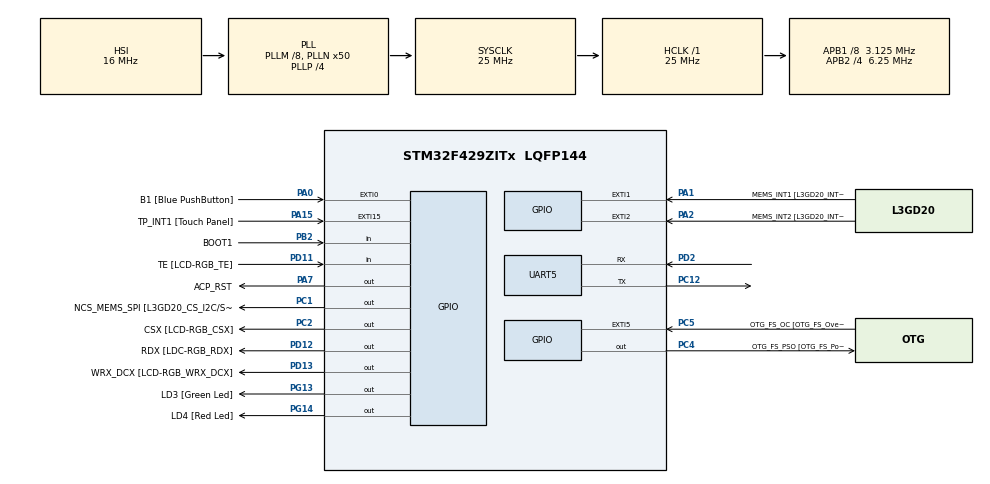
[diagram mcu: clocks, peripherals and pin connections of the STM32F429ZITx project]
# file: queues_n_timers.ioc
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Mcu.Family=STM32F4
Mcu.Name=STM32F429ZITx
Mcu.Package=LQFP144
NVIC.PriorityGroup=NVIC_PRIORITYGROUP_4
NVIC.TIM6_DAC_IRQn=true\:15\:0\:false\:false\:true\:false\:true\:true
NVIC.TimeBase=TIM6_DAC_IRQn
NVIC.TimeBaseIP=TIM6
NVIC.UART5_IRQn=true\:6\:0\:true\:false\:true\:true\:true\:true
PA0/WKUP.GPIO_Label=B1 [Blue PushButton]
PA0/WKUP.GPIO_ModeDefaultEXTI=GPIO_MODE_EVT_RISING
PA0/WKUP.GPIO_PuPd=GPIO_NOPULL
PA0/WKUP.Signal=GPXTI0
PA1.GPIO_Label=MEMS_INT1 [L3GD20_INT1]
PA1.GPIO_ModeDefaultEXTI=GPIO_MODE_EVT_RISING
PA1.GPIO_PuPd=GPIO_NOPULL
PA1.Signal=GPXTI1
PA10.GPIO_Label=STLINK_TX [STM32F103CBT6_PA2]
PA10.Signal=USART1_RX
PA11.GPIO_Label=R4
PA11.GPIO_Mode=GPIO_MODE_AF_PP
PA11.GPIO_PuPd=GPIO_NOPULL
PA11.GPIO_Speed=GPIO_SPEED_FREQ_LOW
PA11.Signal=LTDC_R4
PA12.GPIO_Label=R5
PA12.GPIO_Mode=GPIO_MODE_AF_PP
PA12.GPIO_PuPd=GPIO_NOPULL
PA12.GPIO_Speed=GPIO_SPEED_FREQ_LOW
PA12.Signal=LTDC_R5
PA13.GPIO_Label=SWDIO
PA13.Signal=SYS_JTMS-SWDIO
PA14.GPIO_Label=SWCLK
PA14.Signal=SYS_JTCK-SWCLK
PA15.GPIO_Label=TP_INT1 [Touch Panel]
PA15.GPIO_ModeDefaultEXTI=GPIO_MODE_EVT_RISING
PA15.GPIO_PuPd=GPIO_NOPULL
PA15.Signal=GPXTI15
PA2.GPIO_Label=MEMS_INT2 [L3GD20_INT2]
PA2.GPIO_ModeDefaultEXTI=GPIO_MODE_EVT_RISING
PA2.GPIO_PuPd=GPIO_NOPULL
PA2.Signal=GPXTI2
PA3.GPIO_Label=B5
PA3.GPIO_Mode=GPIO_MODE_AF_PP
PA3.GPIO_PuPd=GPIO_NOPULL
PA3.GPIO_Speed=GPIO_SPEED_FREQ_LOW
PA3.Signal=LTDC_B5
PA4.GPIO_Label=VSYNC
PA4.GPIO_Mode=GPIO_MODE_AF_PP
PA4.GPIO_PuPd=GPIO_NOPULL
PA4.GPIO_Speed=GPIO_SPEED_FREQ_LOW
PA4.Signal=LTDC_VSYNC
PA6.GPIO_Label=G2
PA6.GPIO_Mode=GPIO_MODE_AF_PP
PA6.GPIO_PuPd=GPIO_NOPULL
PA6.GPIO_Speed=GPIO_SPEED_FREQ_LOW
PA6.Signal=LTDC_G2
PA7.GPIO_Label=ACP_RST
PA7.GPIO_Mode=GPIO_MODE_OUTPUT_PP
PA7.GPIO_PuPd=GPIO_NOPULL
PA7.GPIO_Speed=GPIO_SPEED_FREQ_LOW
PA7.Signal=GPIO_Output
PA9.GPIO_Label=STLINK_RX [STM32F103CBT6_PA3]
PA9.Signal=USART1_TX
PB0.GPIO_Label=R3
PB0.GPIO_Mode=GPIO_MODE_AF_PP
PB0.GPIO_PuPd=GPIO_NOPULL
PB0.GPIO_Speed=GPIO_SPEED_FREQ_LOW
PB0.Signal=LTDC_R3
PB1.GPIO_Label=R6
PB1.GPIO_Mode=GPIO_MODE_AF_PP
PB1.GPIO_PuPd=GPIO_NOPULL
PB1.GPIO_Speed=GPIO_SPEED_FREQ_LOW
PB1.Signal=LTDC_R6
PB10.GPIO_Label=G4
PB10.GPIO_Mode=GPIO_MODE_AF_PP
PB10.GPIO_PuPd=GPIO_NOPULL
PB10.GPIO_Speed=GPIO_SPEED_FREQ_LOW
PB10.Signal=LTDC_G4
PB11.GPIO_Label=G5
PB11.GPIO_Mode=GPIO_MODE_AF_PP
PB11.GPIO_PuPd=GPIO_NOPULL
PB11.GPIO_Speed=GPIO_SPEED_FREQ_LOW
PB11.Signal=LTDC_G5
PB12.GPIO_Label=OTG_HS_ID
PB12.GPIO_Mode=GPIO_MODE_AF_PP
PB12.GPIO_PuPd=GPIO_NOPULL
PB12.GPIO_Speed=GPIO_SPEED_FREQ_LOW
PB12.Signal=USB_OTG_HS_ID
PB13.GPIO_Label=VBUS_HS
PB13.GPIO_Mode=GPIO_MODE_INPUT
PB13.GPIO_PuPd=GPIO_NOPULL
PB13.Signal=USB_OTG_HS_VBUS
PB14.GPIO_Label=OTG_HS_DM
PB14.GPIO_Mode=GPIO_MODE_AF_PP
PB14.GPIO_PuPd=GPIO_NOPULL
PB14.GPIO_Speed=GPIO_SPEED_FREQ_LOW
PB14.Signal=USB_OTG_HS_DM
PB15.GPIO_Label=OTG_HS_DP
PB15.GPIO_Mode=GPIO_MODE_AF_PP
PB15.GPIO_PuPd=GPIO_NOPULL
PB15.GPIO_Speed=GPIO_SPEED_FREQ_LOW
PB15.Signal=USB_OTG_HS_DP
PB2/BOOT1.GPIO_Label=BOOT1
PB2/BOOT1.GPIO_Mode=GPIO_MODE_INPUT
PB2/BOOT1.GPIO_PuPd=GPIO_NOPULL
PB2/BOOT1.Signal=GPIO_Input
PB5.GPIO_Label=SDCKE1
PB5.GPIO_Mode=GPIO_MODE_AF_PP
PB5.GPIO_PuPd=GPIO_NOPULL
PB5.GPIO_Speed=GPIO_SPEED_FREQ_VERY_HIGH
PB5.Signal=FMC_SDCKE1
PB6.GPIO_Label=SDNE1 [SDRAM_CS]
PB6.GPIO_Mode=GPIO_MODE_AF_PP
PB6.GPIO_PuPd=GPIO_NOPULL
PB6.GPIO_Speed=GPIO_SPEED_FREQ_VERY_HIGH
PB6.Signal=FMC_SDNE1
PB8.GPIO_Label=B6
PB8.GPIO_Mode=GPIO_MODE_AF_PP
PB8.GPIO_PuPd=GPIO_NOPULL
PB8.GPIO_Speed=GPIO_SPEED_FREQ_LOW
PB8.Signal=LTDC_B6
PB9.GPIO_Label=B7
PB9.GPIO_Mode=GPIO_MODE_AF_PP
PB9.GPIO_PuPd=GPIO_NOPULL
PB9.GPIO_Speed=GPIO_SPEED_FREQ_LOW
PB9.Signal=LTDC_B7
PC0.GPIO_Label=SDNWE
PC0.GPIO_Mode=GPIO_MODE_AF_PP
PC0.GPIO_PuPd=GPIO_NOPULL
PC0.GPIO_Speed=GPIO_SPEED_FREQ_VERY_HIGH
PC0.Signal=FMC_SDNWE
PC1.GPIO_Label=NCS_MEMS_SPI [L3GD20_CS_I2C/SPI]
PC1.GPIO_Mode=GPIO_MODE_OUTPUT_PP
PC1.GPIO_PuPd=GPIO_NOPULL
PC1.GPIO_Speed=GPIO_SPEED_FREQ_LOW
PC1.Signal=GPIO_Output
PC10.GPIO_Label=R2
PC10.GPIO_Mode=GPIO_MODE_AF_PP
PC10.GPIO_PuPd=GPIO_NOPULL
PC10.GPIO_Speed=GPIO_SPEED_FREQ_LOW
PC10.Signal=LTDC_R2
PC12.Mode=Asynchronous
PC12.Signal=UART5_TX
PC14/OSC32_IN.GPIO_Label=PC14-OSC32_IN
PC14/OSC32_IN.Signal=RCC_OSC32_IN
PC15/OSC32_OUT.GPIO_Label=PC15-OSC32_OUT
PC15/OSC32_OUT.Signal=RCC_OSC32_OUT
PC2.GPIO_Label=CSX [LCD-RGB_CSX]
PC2.GPIO_Mode=GPIO_MODE_OUTPUT_PP
PC2.GPIO_PuPd=GPIO_NOPULL
PC2.GPIO_Speed=GPIO_SPEED_FREQ_LOW
PC2.Signal=GPIO_Output
PC4.GPIO_Label=OTG_FS_PSO [OTG_FS_PowerSwitchOn]
PC4.GPIO_Mode=GPIO_MODE_OUTPUT_PP
PC4.GPIO_PuPd=GPIO_NOPULL
PC4.GPIO_Speed=GPIO_SPEED_FREQ_LOW
PC4.Signal=GPIO_Output
PC5.GPIO_Label=OTG_FS_OC [OTG_FS_OverCurrent]
PC5.GPIO_ModeDefaultEXTI=GPIO_MODE_EVT_RISING
PC5.Signal=GPXTI5
PC6.GPIO_Label=HSYNC
PC6.GPIO_Mode=GPIO_MODE_AF_PP
PC6.GPIO_PuPd=GPIO_NOPULL
PC6.GPIO_Speed=GPIO_SPEED_FREQ_LOW
PC6.Signal=LTDC_HSYNC
PC7.GPIO_Label=G6
PC7.GPIO_Mode=GPIO_MODE_AF_PP
PC7.GPIO_PuPd=GPIO_NOPULL
PC7.GPIO_Speed=GPIO_SPEED_FREQ_LOW
PC7.Signal=LTDC_G6
PC9.GPIO_Label=I2C3_SDA [ACP/RF_SDA]
PC9.GPIO_Mode=GPIO_MODE_AF_OD
PC9.GPIO_PuPd=GPIO_NOPULL
PC9.GPIO_Speed=GPIO_SPEED_FREQ_LOW
PC9.Signal=I2C3_SDA
PD0.GPIO_Label=D2
PD0.GPIO_Mode=GPIO_MODE_AF_PP
PD0.GPIO_PuPd=GPIO_NOPULL
PD0.GPIO_Speed=GPIO_SPEED_FREQ_VERY_HIGH
PD0.Signal=FMC_D2_DA2
PD1.GPIO_Label=D3
PD1.GPIO_Mode=GPIO_MODE_AF_PP
PD1.GPIO_PuPd=GPIO_NOPULL
PD1.GPIO_Speed=GPIO_SPEED_FREQ_VERY_HIGH
PD1.Signal=FMC_D3_DA3
PD10.GPIO_Label=D15
PD10.GPIO_Mode=GPIO_MODE_AF_PP
PD10.GPIO_PuPd=GPIO_NOPULL
PD10.GPIO_Speed=GPIO_SPEED_FREQ_VERY_HIGH
PD10.Signal=FMC_D15_DA15
PD11.GPIO_Label=TE [LCD-RGB_TE]
PD11.GPIO_Mode=GPIO_MODE_INPUT
PD11.GPIO_PuPd=GPIO_NOPULL
PD11.Signal=GPIO_Input
PD12.GPIO_Label=RDX [LDC-RGB_RDX]
PD12.GPIO_Mode=GPIO_MODE_OUTPUT_PP
PD12.GPIO_PuPd=GPIO_NOPULL
PD12.GPIO_Speed=GPIO_SPEED_FREQ_LOW
PD12.Signal=GPIO_Output
PD13.GPIO_Label=WRX_DCX [LCD-RGB_WRX_DCX]
PD13.GPIO_Mode=GPIO_MODE_OUTPUT_PP
PD13.GPIO_PuPd=GPIO_NOPULL
PD13.GPIO_Speed=GPIO_SPEED_FREQ_LOW
PD13.Signal=GPIO_Output
PD14.GPIO_Label=D0
PD14.GPIO_Mode=GPIO_MODE_AF_PP
PD14.GPIO_PuPd=GPIO_NOPULL
PD14.GPIO_Speed=GPIO_SPEED_FREQ_VERY_HIGH
PD14.Signal=FMC_D0_DA0
PD15.GPIO_Label=D1
PD15.GPIO_Mode=GPIO_MODE_AF_PP
PD15.GPIO_PuPd=GPIO_NOPULL
PD15.GPIO_Speed=GPIO_SPEED_FREQ_VERY_HIGH
PD15.Signal=FMC_D1_DA1
PD2.Mode=Asynchronous
PD2.Signal=UART5_RX
PD3.GPIO_Label=G7
PD3.GPIO_Mode=GPIO_MODE_AF_PP
PD3.GPIO_PuPd=GPIO_NOPULL
PD3.GPIO_Speed=GPIO_SPEED_FREQ_LOW
PD3.Signal=LTDC_G7
PD6.GPIO_Label=B2
PD6.GPIO_Mode=GPIO_MODE_AF_PP
PD6.GPIO_PuPd=GPIO_NOPULL
PD6.GPIO_Speed=GPIO_SPEED_FREQ_LOW
PD6.Signal=LTDC_B2
PD8.GPIO_Label=D13
PD8.GPIO_Mode=GPIO_MODE_AF_PP
PD8.GPIO_PuPd=GPIO_NOPULL
PD8.GPIO_Speed=GPIO_SPEED_FREQ_VERY_HIGH
PD8.Signal=FMC_D13_DA13
PD9.GPIO_Label=D14
PD9.GPIO_Mode=GPIO_MODE_AF_PP
PD9.GPIO_PuPd=GPIO_NOPULL
PD9.GPIO_Speed=GPIO_SPEED_FREQ_VERY_HIGH
PD9.Signal=FMC_D14_DA14
PE0.GPIO_Label=NBL0 [SDRAM_LDQM]
PE0.GPIO_Mode=GPIO_MODE_AF_PP
PE0.GPIO_PuPd=GPIO_NOPULL
PE0.GPIO_Speed=GPIO_SPEED_FREQ_VERY_HIGH
PE0.Signal=FMC_NBL0
PE1.GPIO_Label=NBL1 [SDRAM_UDQM]
PE1.GPIO_Mode=GPIO_MODE_AF_PP
PE1.GPIO_PuPd=GPIO_NOPULL
PE1.GPIO_Speed=GPIO_SPEED_FREQ_VERY_HIGH
PE1.Signal=FMC_NBL1
PE10.GPIO_Label=D7
PE10.GPIO_Mode=GPIO_MODE_AF_PP
PE10.GPIO_PuPd=GPIO_NOPULL
PE10.GPIO_Speed=GPIO_SPEED_FREQ_VERY_HIGH
PE10.Signal=FMC_D7_DA7
PE11.GPIO_Label=D8
PE11.GPIO_Mode=GPIO_MODE_AF_PP
PE11.GPIO_PuPd=GPIO_NOPULL
PE11.GPIO_Speed=GPIO_SPEED_FREQ_VERY_HIGH
PE11.Signal=FMC_D8_DA8
PE12.GPIO_Label=D9
PE12.GPIO_Mode=GPIO_MODE_AF_PP
PE12.GPIO_PuPd=GPIO_NOPULL
PE12.GPIO_Speed=GPIO_SPEED_FREQ_VERY_HIGH
PE12.Signal=FMC_D9_DA9
PE13.GPIO_Label=D10
PE13.GPIO_Mode=GPIO_MODE_AF_PP
PE13.GPIO_PuPd=GPIO_NOPULL
PE13.GPIO_Speed=GPIO_SPEED_FREQ_VERY_HIGH
PE13.Signal=FMC_D10_DA10
PE14.GPIO_Label=D11
PE14.GPIO_Mode=GPIO_MODE_AF_PP
PE14.GPIO_PuPd=GPIO_NOPULL
PE14.GPIO_Speed=GPIO_SPEED_FREQ_VERY_HIGH
PE14.Signal=FMC_D11_DA11
PE15.GPIO_Label=D12
PE15.GPIO_Mode=GPIO_MODE_AF_PP
PE15.GPIO_PuPd=GPIO_NOPULL
PE15.GPIO_Speed=GPIO_SPEED_FREQ_VERY_HIGH
PE15.Signal=FMC_D12_DA12
PE7.GPIO_Label=D4
PE7.GPIO_Mode=GPIO_MODE_AF_PP
PE7.GPIO_PuPd=GPIO_NOPULL
PE7.GPIO_Speed=GPIO_SPEED_FREQ_VERY_HIGH
PE7.Signal=FMC_D4_DA4
PE8.GPIO_Label=D5
PE8.GPIO_Mode=GPIO_MODE_AF_PP
PE8.GPIO_PuPd=GPIO_NOPULL
PE8.GPIO_Speed=GPIO_SPEED_FREQ_VERY_HIGH
PE8.Signal=FMC_D5_DA5
PE9.GPIO_Label=D6
PE9.GPIO_Mode=GPIO_MODE_AF_PP
PE9.GPIO_PuPd=GPIO_NOPULL
PE9.GPIO_Speed=GPIO_SPEED_FREQ_VERY_HIGH
PE9.Signal=FMC_D6_DA6
PF0.GPIO_Label=A0
PF0.GPIO_Mode=GPIO_MODE_AF_PP
PF0.GPIO_PuPd=GPIO_NOPULL
PF0.GPIO_Speed=GPIO_SPEED_FREQ_VERY_HIGH
PF0.Signal=FMC_A0
PF1.GPIO_Label=A1
PF1.GPIO_Mode=GPIO_MODE_AF_PP
PF1.GPIO_PuPd=GPIO_NOPULL
PF1.GPIO_Speed=GPIO_SPEED_FREQ_VERY_HIGH
PF1.Signal=FMC_A1
PF10.GPIO_Label=ENABLE [LCD-RGB_ENABLE]
PF10.GPIO_Mode=GPIO_MODE_AF_PP
PF10.GPIO_PuPd=GPIO_NOPULL
PF10.GPIO_Speed=GPIO_SPEED_FREQ_LOW
PF10.Signal=LTDC_DE
PF11.GPIO_Label=SDNRAS
PF11.GPIO_Mode=GPIO_MODE_AF_PP
PF11.GPIO_PuPd=GPIO_NOPULL
PF11.GPIO_Speed=GPIO_SPEED_FREQ_VERY_HIGH
PF11.Signal=FMC_SDNRAS
PF12.GPIO_Label=A6
PF12.GPIO_Mode=GPIO_MODE_AF_PP
PF12.GPIO_PuPd=GPIO_NOPULL
PF12.GPIO_Speed=GPIO_SPEED_FREQ_VERY_HIGH
PF12.Signal=FMC_A6
PF13.GPIO_Label=A7
PF13.GPIO_Mode=GPIO_MODE_AF_PP
PF13.GPIO_PuPd=GPIO_NOPULL
PF13.GPIO_Speed=GPIO_SPEED_FREQ_VERY_HIGH
PF13.Signal=FMC_A7
PF14.GPIO_Label=A8
PF14.GPIO_Mode=GPIO_MODE_AF_PP
PF14.GPIO_PuPd=GPIO_NOPULL
PF14.GPIO_Speed=GPIO_SPEED_FREQ_VERY_HIGH
PF14.Signal=FMC_A8
PF15.GPIO_Label=A9
PF15.GPIO_Mode=GPIO_MODE_AF_PP
PF15.GPIO_PuPd=GPIO_NOPULL
PF15.GPIO_Speed=GPIO_SPEED_FREQ_VERY_HIGH
PF15.Signal=FMC_A9
PF2.GPIO_Label=A2
PF2.GPIO_Mode=GPIO_MODE_AF_PP
PF2.GPIO_PuPd=GPIO_NOPULL
PF2.GPIO_Speed=GPIO_SPEED_FREQ_VERY_HIGH
PF2.Signal=FMC_A2
PF3.GPIO_Label=A3
PF3.GPIO_Mode=GPIO_MODE_AF_PP
PF3.GPIO_PuPd=GPIO_NOPULL
PF3.GPIO_Speed=GPIO_SPEED_FREQ_VERY_HIGH
PF3.Signal=FMC_A3
PF4.GPIO_Label=A4
PF4.GPIO_Mode=GPIO_MODE_AF_PP
PF4.GPIO_PuPd=GPIO_NOPULL
PF4.GPIO_Speed=GPIO_SPEED_FREQ_VERY_HIGH
PF4.Signal=FMC_A4
PF5.GPIO_Label=A5
PF5.GPIO_Mode=GPIO_MODE_AF_PP
PF5.GPIO_PuPd=GPIO_NOPULL
PF5.GPIO_Speed=GPIO_SPEED_FREQ_VERY_HIGH
PF5.Signal=FMC_A5
PF7.GPIO_Label=SPI5_SCK [L3GD20_SCL/SPC]
PF7.GPIO_Mode=GPIO_MODE_AF_PP
PF7.GPIO_PuPd=GPIO_NOPULL
PF7.GPIO_Speed=GPIO_SPEED_FREQ_LOW
PF7.Signal=SPI5_SCK
PF8.GPIO_Label=SPI5_MISO [L3GD20_SDO]
PF8.GPIO_Mode=GPIO_MODE_AF_PP
PF8.GPIO_PuPd=GPIO_NOPULL
PF8.GPIO_Speed=GPIO_SPEED_FREQ_LOW
PF8.Signal=SPI5_MISO
PF9.GPIO_Label=SPI5_MOSI [L3GD20_SDA/SDI/SDO]
PF9.GPIO_Mode=GPIO_MODE_AF_PP
PF9.GPIO_PuPd=GPIO_NOPULL
PF9.GPIO_Speed=GPIO_SPEED_FREQ_LOW
PF9.Signal=SPI5_MOSI
PG0.GPIO_Label=A10
PG0.GPIO_Mode=GPIO_MODE_AF_PP
PG0.GPIO_PuPd=GPIO_NOPULL
PG0.GPIO_Speed=GPIO_SPEED_FREQ_VERY_HIGH
PG0.Signal=FMC_A10
PG1.GPIO_Label=A11
PG1.GPIO_Mode=GPIO_MODE_AF_PP
PG1.GPIO_PuPd=GPIO_NOPULL
PG1.GPIO_Speed=GPIO_SPEED_FREQ_VERY_HIGH
PG1.Signal=FMC_A11
PG10.GPIO_Label=G3
PG10.GPIO_Mode=GPIO_MODE_AF_PP
PG10.GPIO_PuPd=GPIO_NOPULL
PG10.GPIO_Speed=GPIO_SPEED_FREQ_LOW
PG10.Signal=LTDC_G3
PG11.GPIO_Label=B3
PG11.GPIO_Mode=GPIO_MODE_AF_PP
PG11.GPIO_PuPd=GPIO_NOPULL
PG11.GPIO_Speed=GPIO_SPEED_FREQ_LOW
PG11.Signal=LTDC_B3
PG12.GPIO_Label=B4
PG12.GPIO_Mode=GPIO_MODE_AF_PP
PG12.GPIO_PuPd=GPIO_NOPULL
PG12.GPIO_Speed=GPIO_SPEED_FREQ_LOW
PG12.Signal=LTDC_B4
PG13.GPIO_Label=LD3 [Green Led]
PG13.GPIO_Mode=GPIO_MODE_OUTPUT_PP
PG13.GPIO_PuPd=GPIO_NOPULL
PG13.GPIO_Speed=GPIO_SPEED_FREQ_LOW
PG13.Signal=GPIO_Output
PG14.GPIO_Label=LD4 [Red Led]
PG14.GPIO_Mode=GPIO_MODE_OUTPUT_PP
PG14.GPIO_PuPd=GPIO_NOPULL
PG14.GPIO_Speed=GPIO_SPEED_FREQ_LOW
PG14.Signal=GPIO_Output
PG15.GPIO_Label=SDNCAS
PG15.GPIO_Mode=GPIO_MODE_AF_PP
PG15.GPIO_PuPd=GPIO_NOPULL
PG15.GPIO_Speed=GPIO_SPEED_FREQ_VERY_HIGH
PG15.Signal=FMC_SDNCAS
PG4.GPIO_Label=BA0
PG4.GPIO_Mode=GPIO_MODE_AF_PP
PG4.GPIO_PuPd=GPIO_NOPULL
PG4.GPIO_Speed=GPIO_SPEED_FREQ_VERY_HIGH
PG4.Signal=FMC_A14_BA0
PG5.GPIO_Label=BA1
PG5.GPIO_Mode=GPIO_MODE_AF_PP
PG5.GPIO_PuPd=GPIO_NOPULL
PG5.GPIO_Speed=GPIO_SPEED_FREQ_VERY_HIGH
PG5.Signal=FMC_A15_BA1
PG6.GPIO_Label=R7
PG6.GPIO_Mode=GPIO_MODE_AF_PP
PG6.GPIO_PuPd=GPIO_NOPULL
PG6.GPIO_Speed=GPIO_SPEED_FREQ_LOW
PG6.Signal=LTDC_R7
PG7.GPIO_Label=DOTCLK [LCT-RGB_DOTCLK]
PG7.GPIO_Mode=GPIO_MODE_AF_PP
PG7.GPIO_PuPd=GPIO_NOPULL
PG7.GPIO_Speed=GPIO_SPEED_FREQ_LOW
PG7.Signal=LTDC_CLK
PG8.GPIO_Label=SDCLK
PG8.GPIO_Mode=GPIO_MODE_AF_PP
PG8.GPIO_PuPd=GPIO_NOPULL
PG8.GPIO_Speed=GPIO_SPEED_FREQ_VERY_HIGH
PG8.Signal=FMC_SDCLK
PH0/OSC_IN.GPIO_Label=PH0-OSC_IN
PH0/OSC_IN.Signal=RCC_OSC_IN
PH1/OSC_OUT.GPIO_Label=PH1-OSC_OUT
PH1/OSC_OUT.Signal=RCC_OSC_OUT
ProjectManager.HeapSize=0x200
ProjectManager.StackSize=0x400
ProjectManager.TargetToolchain=STM32CubeIDE
RCC.48MHZClocksFreq_Value=14285714.285714285
RCC.AHBFreq_Value=25000000
RCC.APB1CLKDivider=RCC_HCLK_DIV8
RCC.APB1Freq_Value=3125000
RCC.APB1TimFreq_Value=6250000
RCC.APB2CLKDivider=RCC_HCLK_DIV4
RCC.APB2Freq_Value=6250000
RCC.APB2TimFreq_Value=12500000
RCC.CortexFreq_Value=25000000
RCC.HCLKFreq_Value=25000000
RCC.HSE_VALUE=8000000
RCC.HSI_VALUE=16000000
RCC.LSE_VALUE=32768
RCC.PLLM=8
RCC.PLLN=50
RCC.PLLP=RCC_PLLP_DIV4
RCC.PLLQ=7
RCC.SYSCLKFreq_VALUE=25000000
RCC.SYSCLKSource=RCC_SYSCLKSOURCE_PLLCLK
RCC.VCOOutputFreq_Value=100000000
RTC.HourFormat=RTC_HOURFORMAT_12
SH.FMC_A0.0=FMC_A0
SH.FMC_A1.0=FMC_A1
SH.FMC_A10.0=FMC_A10
SH.FMC_A11.0=FMC_A11
SH.FMC_A14_BA0.0=FMC_BA0
SH.FMC_A15_BA1.0=FMC_BA1
SH.FMC_A2.0=FMC_A2
SH.FMC_A3.0=FMC_A3
SH.FMC_A4.0=FMC_A4
SH.FMC_A5.0=FMC_A5
SH.FMC_A6.0=FMC_A6
SH.FMC_A7.0=FMC_A7
SH.FMC_A8.0=FMC_A8
SH.FMC_A9.0=FMC_A9
SH.FMC_D0_DA0.0=FMC_D0
SH.FMC_D10_DA10.0=FMC_D10
SH.FMC_D11_DA11.0=FMC_D11
SH.FMC_D12_DA12.0=FMC_D12
SH.FMC_D13_DA13.0=FMC_D13
SH.FMC_D14_DA14.0=FMC_D14
SH.FMC_D15_DA15.0=FMC_D15
SH.FMC_D1_DA1.0=FMC_D1
SH.FMC_D2_DA2.0=FMC_D2
SH.FMC_D3_DA3.0=FMC_D3
SH.FMC_D4_DA4.0=FMC_D4
SH.FMC_D5_DA5.0=FMC_D5
SH.FMC_D6_DA6.0=FMC_D6
SH.FMC_D7_DA7.0=FMC_D7
SH.FMC_D8_DA8.0=FMC_D8
SH.FMC_D9_DA9.0=FMC_D9
SH.FMC_NBL0.0=FMC_NBL0
SH.FMC_NBL1.0=FMC_NBL1
SH.FMC_SDCLK.0=FMC_SDCLK
SH.FMC_SDNCAS.0=FMC_SDNCAS
SH.FMC_SDNRAS.0=FMC_SDNRAS
SH.FMC_SDNWE.0=FMC_SDNWE
UART5.VirtualMode=Asynchronous
VP_RTC_VS_RTC_Activate.Mode=RTC_Enabled
VP_SYS_VS_tim6.Mode=TIM6
board=STM32F429I-DISC1

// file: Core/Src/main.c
/* USER CODE BEGIN Header */
/**
  ******************************************************************************
  * @file           : main.c
  * @brief          : Main program body
  ******************************************************************************
  * @attention
  *
  * Copyright (c) 2025 STMicroelectronics.
  * All rights reserved.
  *
  * This software is licensed under terms that can be found in the LICENSE file
  * in the root directory of this software component.
  * If no LICENSE file comes with this software, it is provided AS-IS.
  *
  ******************************************************************************
  */
/* USER CODE END Header */
#include "main.h"

RTC_HandleTypeDef hrtc;

UART_HandleTypeDef huart5;

/* USER CODE BEGIN PV */
UART_HandleTypeDef huart5;
SemaphoreHandle_t xMutex;

TaskHandle_t handle_led_task = NULL;
TaskHandle_t handle_rtc_task = NULL;
TaskHandle_t handle_menu_task = NULL;
TaskHandle_t handle_print_task = NULL;
TaskHandle_t handle_cmd_task = NULL;
TaskHandle_t volatile next_task_handle  = NULL;

TimerHandle_t handle_led_timer[4];
TimerHandle_t rtc_timer;

QueueHandle_t q_data = NULL;
QueueHandle_t q_print = NULL;

//state variable
state_t curr_state = sMainMenu;

unsigned char user_data;
/* USER CODE END PV */

void SystemClock_Config(void);
static void MX_GPIO_Init(void);
static void MX_UART5_Init(void);
static void MX_RTC_Init(void);

/* USER CODE BEGIN 0 */

void vApplicationIdleHook( void )
{
	HAL_PWR_EnterSLEEPMode(PWR_MAINREGULATOR_ON, PWR_SLEEPENTRY_WFI);
}

//int __io_putchar(int ch)
//{
//	xSemaphoreTake( xMutex, portMAX_DELAY );
//    /* Support printf over UART */
//    (void)HAL_UART_Transmit(&huart5, (uint8_t*)&ch, 1, 0xFFFFU);
//    xSemaphoreGive( xMutex );
//    return ch;
//}

/* This function called from UART interrupt handler , hence executes in interrupt context */
void HAL_UART_RxCpltCallback(UART_HandleTypeDef *huart)
{
	uint8_t dummy;

	for(uint32_t i = 0 ; i < 4000 ; i++);

	if(! xQueueIsQueueFullFromISR(q_data))
	{
		/*Enqueue data byte */
		xQueueSendFromISR(q_data , (void*)&user_data , NULL);
	}else{
		if(user_data == '\n')
		{
			/*Make sure that last data byte of the queue is '\n' */
			xQueueReceiveFromISR(q_data,(void*)&dummy,NULL);
			xQueueSendFromISR(q_data ,(void*)&user_data , NULL);
		}
	}

	/*Send notification to command handling task if user_data = '\n' */
	if( user_data == '\n' ){
		/*send notification to command handling task */
		xTaskNotifyFromISR (handle_cmd_task,0,eNoAction,NULL);
	}

	/* Enable UART data byte reception again in IT mode */
	 HAL_UART_Receive_IT(&huart5, (uint8_t*)&user_data, 1);
}

void led_effect_callback(TimerHandle_t xTimer)
{
	 int id;
	 id = ( uint32_t ) pvTimerGetTimerID( xTimer );

	 switch(id)
	 {
	 case 1 :
		 LED_effect1();
		 break;
	 case 2:
		 LED_effect2();
		 break;
	 case 3:
		 LED_effect3();
		 break;
	 case 4:
		 LED_effect4();
	 }

}

void rtc_report_callback( TimerHandle_t xTimer )
{
	 show_time_date_itm();
}

/* USER CODE END 0 */

int main(void)
{

  /* MCU Configuration--------------------------------------------------------*/

  /* Reset of all peripherals, Initializes the Flash interface and the Systick. */
  HAL_Init();

  /* Configure the system clock */
  SystemClock_Config();

  /* Initialize all configured peripherals */
  MX_GPIO_Init();
  MX_UART5_Init();
  MX_RTC_Init();
  /* USER CODE BEGIN 2 */
  BaseType_t status;

  xMutex = xSemaphoreCreateMutex();

  status = xTaskCreate(led_task, "led_task", 200, NULL, 2,&handle_led_task );
  configASSERT(status == pdPASS);

  status = xTaskCreate(rtc_task, "rtc_task", 200, NULL, 2,&handle_rtc_task );
  configASSERT(status == pdPASS);

  status = xTaskCreate(print_task, "print_task", 200, NULL, 2,&handle_print_task );
  configASSERT(status == pdPASS);

  status = xTaskCreate(cmd_task, "cmd_task", 200, NULL, 2,&handle_cmd_task );
  configASSERT(status == pdPASS);

  status = xTaskCreate(menu_task, "menu_task", 200, NULL, 2,&handle_menu_task );
  configASSERT(status == pdPASS);

  q_data = xQueueCreate( 10, sizeof(char));
  configASSERT(q_data != NULL);

  q_print = xQueueCreate( 10, sizeof(void*));
  configASSERT(q_print != NULL);

  for(int i = 0; i <  4; ++i)
  {
	  handle_led_timer[i] = xTimerCreate("led_timer", pdMS_TO_TICKS(500), pdTRUE, (void*)(i+1), led_effect_callback);
  }
  rtc_timer = xTimerCreate ("rtc_report_timer",pdMS_TO_TICKS(1000),pdTRUE,NULL,rtc_report_callback);

  HAL_UART_Receive_IT(&huart5, &user_data, 1);
  //start the freeRTOS scheduler
    vTaskStartScheduler();

  /* USER CODE END 2 */

  /* Infinite loop */
  /* USER CODE BEGIN WHILE */
  while (1)
  {
	  // Toggle the LED state (ON to OFF, or OFF to ON)
	  HAL_GPIO_TogglePin(GPIOG, GPIO_PIN_13 | GPIO_PIN_14);

	    // Delay for 500 milliseconds (0.5 seconds)
	    HAL_Delay(500);
    /* USER CODE END WHILE */

  }
}

void SystemClock_Config(void)
{
  RCC_OscInitTypeDef RCC_OscInitStruct = {0};
  RCC_ClkInitTypeDef RCC_ClkInitStruct = {0};

  /** Configure the main internal regulator output voltage
  */
  __HAL_RCC_PWR_CLK_ENABLE();
  __HAL_PWR_VOLTAGESCALING_CONFIG(PWR_REGULATOR_VOLTAGE_SCALE3);

  /** Initializes the RCC Oscillators according to the specified parameters
  * in the RCC_OscInitTypeDef structure.
  */
  RCC_OscInitStruct.OscillatorType = RCC_OSCILLATORTYPE_HSI|RCC_OSCILLATORTYPE_LSI;
  RCC_OscInitStruct.HSIState = RCC_HSI_ON;
  RCC_OscInitStruct.HSICalibrationValue = RCC_HSICALIBRATION_DEFAULT;
  RCC_OscInitStruct.LSIState = RCC_LSI_ON;
  RCC_OscInitStruct.PLL.PLLState = RCC_PLL_ON;
  RCC_OscInitStruct.PLL.PLLSource = RCC_PLLSOURCE_HSI;
  RCC_OscInitStruct.PLL.PLLM = 8;
  RCC_OscInitStruct.PLL.PLLN = 50;
  RCC_OscInitStruct.PLL.PLLP = RCC_PLLP_DIV4;
  RCC_OscInitStruct.PLL.PLLQ = 7;
  if (HAL_RCC_OscConfig(&RCC_OscInitStruct) != HAL_OK)
  {
    Error_Handler();
  }

  /** Initializes the CPU, AHB and APB buses clocks
  */
  RCC_ClkInitStruct.ClockType = RCC_CLOCKTYPE_HCLK|RCC_CLOCKTYPE_SYSCLK
                              |RCC_CLOCKTYPE_PCLK1|RCC_CLOCKTYPE_PCLK2;
  RCC_ClkInitStruct.SYSCLKSource = RCC_SYSCLKSOURCE_PLLCLK;
  RCC_ClkInitStruct.AHBCLKDivider = RCC_SYSCLK_DIV1;
  RCC_ClkInitStruct.APB1CLKDivider = RCC_HCLK_DIV8;
  RCC_ClkInitStruct.APB2CLKDivider = RCC_HCLK_DIV4;

  if (HAL_RCC_ClockConfig(&RCC_ClkInitStruct, FLASH_LATENCY_0) != HAL_OK)
  {
    Error_Handler();
  }
}

static void MX_RTC_Init(void)
{

  /** Initialize RTC Only
  */
  hrtc.Instance = RTC;
  hrtc.Init.HourFormat = RTC_HOURFORMAT_12;
  hrtc.Init.AsynchPrediv = 127;
  hrtc.Init.SynchPrediv = 255;
  hrtc.Init.OutPut = RTC_OUTPUT_DISABLE;
  hrtc.Init.OutPutPolarity = RTC_OUTPUT_POLARITY_HIGH;
  hrtc.Init.OutPutType = RTC_OUTPUT_TYPE_OPENDRAIN;
  if (HAL_RTC_Init(&hrtc) != HAL_OK)
  {
    Error_Handler();
  }

}

static void MX_UART5_Init(void)
{

  huart5.Instance = UART5;
  huart5.Init.BaudRate = 115200;
  huart5.Init.WordLength = UART_WORDLENGTH_8B;
  huart5.Init.StopBits = UART_STOPBITS_1;
  huart5.Init.Parity = UART_PARITY_NONE;
  huart5.Init.Mode = UART_MODE_TX_RX;
  huart5.Init.HwFlowCtl = UART_HWCONTROL_NONE;
  huart5.Init.OverSampling = UART_OVERSAMPLING_16;
  if (HAL_UART_Init(&huart5) != HAL_OK)
  {
    Error_Handler();
  }

}

static void MX_GPIO_Init(void)
{
  GPIO_InitTypeDef GPIO_InitStruct = {0};

  /* GPIO Ports Clock Enable */
  __HAL_RCC_GPIOC_CLK_ENABLE();
  __HAL_RCC_GPIOF_CLK_ENABLE();
  __HAL_RCC_GPIOH_CLK_ENABLE();
  __HAL_RCC_GPIOA_CLK_ENABLE();
  __HAL_RCC_GPIOB_CLK_ENABLE();
  __HAL_RCC_GPIOG_CLK_ENABLE();
  __HAL_RCC_GPIOE_CLK_ENABLE();
  __HAL_RCC_GPIOD_CLK_ENABLE();

  /*Configure GPIO pin Output Level */
  HAL_GPIO_WritePin(GPIOC, NCS_MEMS_SPI_Pin|CSX_Pin|OTG_FS_PSO_Pin, GPIO_PIN_RESET);

  /*Configure GPIO pin Output Level */
  HAL_GPIO_WritePin(ACP_RST_GPIO_Port, ACP_RST_Pin, GPIO_PIN_RESET);

  /*Configure GPIO pin Output Level */
  HAL_GPIO_WritePin(GPIOD, RDX_Pin|WRX_DCX_Pin, GPIO_PIN_RESET);

  /*Configure GPIO pin Output Level */
  HAL_GPIO_WritePin(GPIOG, LD3_Pin|LD4_Pin, GPIO_PIN_RESET);

  /*Configure GPIO pins : A0_Pin A1_Pin A2_Pin A3_Pin
                           A4_Pin A5_Pin SDNRAS_Pin A6_Pin
                           A7_Pin A8_Pin A9_Pin */
  GPIO_InitStruct.Pin = A0_Pin|A1_Pin|A2_Pin|A3_Pin
                          |A4_Pin|A5_Pin|SDNRAS_Pin|A6_Pin
                          |A7_Pin|A8_Pin|A9_Pin;
  GPIO_InitStruct.Mode = GPIO_MODE_AF_PP;
  GPIO_InitStruct.Pull = GPIO_NOPULL;
  GPIO_InitStruct.Speed = GPIO_SPEED_FREQ_VERY_HIGH;
  GPIO_InitStruct.Alternate = GPIO_AF12_FMC;
  HAL_GPIO_Init(GPIOF, &GPIO_InitStruct);

  /*Configure GPIO pins : SPI5_SCK_Pin SPI5_MISO_Pin SPI5_MOSI_Pin */
  GPIO_InitStruct.Pin = SPI5_SCK_Pin|SPI5_MISO_Pin|SPI5_MOSI_Pin;
  GPIO_InitStruct.Mode = GPIO_MODE_AF_PP;
  GPIO_InitStruct.Pull = GPIO_NOPULL;
  GPIO_InitStruct.Speed = GPIO_SPEED_FREQ_LOW;
  GPIO_InitStruct.Alternate = GPIO_AF5_SPI5;
  HAL_GPIO_Init(GPIOF, &GPIO_InitStruct);

  /*Configure GPIO pin : ENABLE_Pin */
  GPIO_InitStruct.Pin = ENABLE_Pin;
  GPIO_InitStruct.Mode = GPIO_MODE_AF_PP;
  GPIO_InitStruct.Pull = GPIO_NOPULL;
  GPIO_InitStruct.Speed = GPIO_SPEED_FREQ_LOW;
  GPIO_InitStruct.Alternate = GPIO_AF14_LTDC;
  HAL_GPIO_Init(ENABLE_GPIO_Port, &GPIO_InitStruct);

  /*Configure GPIO pin : SDNWE_Pin */
  GPIO_InitStruct.Pin = SDNWE_Pin;
  GPIO_InitStruct.Mode = GPIO_MODE_AF_PP;
  GPIO_InitStruct.Pull = GPIO_NOPULL;
  GPIO_InitStruct.Speed = GPIO_SPEED_FREQ_VERY_HIGH;
  GPIO_InitStruct.Alternate = GPIO_AF12_FMC;
  HAL_GPIO_Init(SDNWE_GPIO_Port, &GPIO_InitStruct);

  /*Configure GPIO pins : NCS_MEMS_SPI_Pin CSX_Pin OTG_FS_PSO_Pin */
  GPIO_InitStruct.Pin = NCS_MEMS_SPI_Pin|CSX_Pin|OTG_FS_PSO_Pin;
  GPIO_InitStruct.Mode = GPIO_MODE_OUTPUT_PP;
  GPIO_InitStruct.Pull = GPIO_NOPULL;
  GPIO_InitStruct.Speed = GPIO_SPEED_FREQ_LOW;
  HAL_GPIO_Init(GPIOC, &GPIO_InitStruct);

  /*Configure GPIO pins : B1_Pin MEMS_INT1_Pin MEMS_INT2_Pin TP_INT1_Pin */
  GPIO_InitStruct.Pin = B1_Pin|MEMS_INT1_Pin|MEMS_INT2_Pin|TP_INT1_Pin;
  GPIO_InitStruct.Mode = GPIO_MODE_EVT_RISING;
  GPIO_InitStruct.Pull = GPIO_NOPULL;
  HAL_GPIO_Init(GPIOA, &GPIO_InitStruct);

  /*Configure GPIO pins : B5_Pin VSYNC_Pin G2_Pin R4_Pin
                           R5_Pin */
  GPIO_InitStruct.Pin = B5_Pin|VSYNC_Pin|G2_Pin|R4_Pin
                          |R5_Pin;
  GPIO_InitStruct.Mode = GPIO_MODE_AF_PP;
  GPIO_InitStruct.Pull = GPIO_NOPULL;
  GPIO_InitStruct.Speed = GPIO_SPEED_FREQ_LOW;
  GPIO_InitStruct.Alternate = GPIO_AF14_LTDC;
  HAL_GPIO_Init(GPIOA, &GPIO_InitStruct);

  /*Configure GPIO pin : ACP_RST_Pin */
  GPIO_InitStruct.Pin = ACP_RST_Pin;
  GPIO_InitStruct.Mode = GPIO_MODE_OUTPUT_PP;
  GPIO_InitStruct.Pull = GPIO_NOPULL;
  GPIO_InitStruct.Speed = GPIO_SPEED_FREQ_LOW;
  HAL_GPIO_Init(ACP_RST_GPIO_Port, &GPIO_InitStruct);

  /*Configure GPIO pin : OTG_FS_OC_Pin */
  GPIO_InitStruct.Pin = OTG_FS_OC_Pin;
  GPIO_InitStruct.Mode = GPIO_MODE_EVT_RISING;
  GPIO_InitStruct.Pull = GPIO_NOPULL;
  HAL_GPIO_Init(OTG_FS_OC_GPIO_Port, &GPIO_InitStruct);

  /*Configure GPIO pins : R3_Pin R6_Pin */
  GPIO_InitStruct.Pin = R3_Pin|R6_Pin;
  GPIO_InitStruct.Mode = GPIO_MODE_AF_PP;
  GPIO_InitStruct.Pull = GPIO_NOPULL;
  GPIO_InitStruct.Speed = GPIO_SPEED_FREQ_LOW;
  GPIO_InitStruct.Alternate = GPIO_AF9_LTDC;
  HAL_GPIO_Init(GPIOB, &GPIO_InitStruct);

  /*Configure GPIO pin : BOOT1_Pin */
  GPIO_InitStruct.Pin = BOOT1_Pin;
  GPIO_InitStruct.Mode = GPIO_MODE_INPUT;
  GPIO_InitStruct.Pull = GPIO_NOPULL;
  HAL_GPIO_Init(BOOT1_GPIO_Port, &GPIO_InitStruct);

  /*Configure GPIO pins : A10_Pin A11_Pin BA0_Pin BA1_Pin
                           SDCLK_Pin SDNCAS_Pin */
  GPIO_InitStruct.Pin = A10_Pin|A11_Pin|BA0_Pin|BA1_Pin
                          |SDCLK_Pin|SDNCAS_Pin;
  GPIO_InitStruct.Mode = GPIO_MODE_AF_PP;
  GPIO_InitStruct.Pull = GPIO_NOPULL;
  GPIO_InitStruct.Speed = GPIO_SPEED_FREQ_VERY_HIGH;
  GPIO_InitStruct.Alternate = GPIO_AF12_FMC;
  HAL_GPIO_Init(GPIOG, &GPIO_InitStruct);

  /*Configure GPIO pins : D4_Pin D5_Pin D6_Pin D7_Pin
                           D8_Pin D9_Pin D10_Pin D11_Pin
                           D12_Pin NBL0_Pin NBL1_Pin */
  GPIO_InitStruct.Pin = D4_Pin|D5_Pin|D6_Pin|D7_Pin
                          |D8_Pin|D9_Pin|D10_Pin|D11_Pin
                          |D12_Pin|NBL0_Pin|NBL1_Pin;
  GPIO_InitStruct.Mode = GPIO_MODE_AF_PP;
  GPIO_InitStruct.Pull = GPIO_NOPULL;
  GPIO_InitStruct.Speed = GPIO_SPEED_FREQ_VERY_HIGH;
  GPIO_InitStruct.Alternate = GPIO_AF12_FMC;
  HAL_GPIO_Init(GPIOE, &GPIO_InitStruct);

  /*Configure GPIO pins : G4_Pin G5_Pin B6_Pin B7_Pin */
  GPIO_InitStruct.Pin = G4_Pin|G5_Pin|B6_Pin|B7_Pin;
  GPIO_InitStruct.Mode = GPIO_MODE_AF_PP;
  GPIO_InitStruct.Pull = GPIO_NOPULL;
  GPIO_InitStruct.Speed = GPIO_SPEED_FREQ_LOW;
  GPIO_InitStruct.Alternate = GPIO_AF14_LTDC;
  HAL_GPIO_Init(GPIOB, &GPIO_InitStruct);

  /*Configure GPIO pins : OTG_HS_ID_Pin OTG_HS_DM_Pin OTG_HS_DP_Pin */
  GPIO_InitStruct.Pin = OTG_HS_ID_Pin|OTG_HS_DM_Pin|OTG_HS_DP_Pin;
  GPIO_InitStruct.Mode = GPIO_MODE_AF_PP;
  GPIO_InitStruct.Pull = GPIO_NOPULL;
  GPIO_InitStruct.Speed = GPIO_SPEED_FREQ_LOW;
  GPIO_InitStruct.Alternate = GPIO_AF12_OTG_HS_FS;
  HAL_GPIO_Init(GPIOB, &GPIO_InitStruct);

  /*Configure GPIO pin : VBUS_HS_Pin */
  GPIO_InitStruct.Pin = VBUS_HS_Pin;
  GPIO_InitStruct.Mode = GPIO_MODE_INPUT;
  GPIO_InitStruct.Pull = GPIO_NOPULL;
  HAL_GPIO_Init(VBUS_HS_GPIO_Port, &GPIO_InitStruct);

  /*Configure GPIO pins : D13_Pin D14_Pin D15_Pin D0_Pin
                           D1_Pin D2_Pin D3_Pin */
  GPIO_InitStruct.Pin = D13_Pin|D14_Pin|D15_Pin|D0_Pin
                          |D1_Pin|D2_Pin|D3_Pin;
  GPIO_InitStruct.Mode = GPIO_MODE_AF_PP;
  GPIO_InitStruct.Pull = GPIO_NOPULL;
  GPIO_InitStruct.Speed = GPIO_SPEED_FREQ_VERY_HIGH;
  GPIO_InitStruct.Alternate = GPIO_AF12_FMC;
  HAL_GPIO_Init(GPIOD, &GPIO_InitStruct);

  /*Configure GPIO pin : TE_Pin */
  GPIO_InitStruct.Pin = TE_Pin;
  GPIO_InitStruct.Mode = GPIO_MODE_INPUT;
  GPIO_InitStruct.Pull = GPIO_NOPULL;
  HAL_GPIO_Init(TE_GPIO_Port, &GPIO_InitStruct);

  /*Configure GPIO pins : RDX_Pin WRX_DCX_Pin */
  GPIO_InitStruct.Pin = RDX_Pin|WRX_DCX_Pin;
  GPIO_InitStruct.Mode = GPIO_MODE_OUTPUT_PP;
  GPIO_InitStruct.Pull = GPIO_NOPULL;
  GPIO_InitStruct.Speed = GPIO_SPEED_FREQ_LOW;
  HAL_GPIO_Init(GPIOD, &GPIO_InitStruct);

  /*Configure GPIO pins : R7_Pin DOTCLK_Pin B3_Pin */
  GPIO_InitStruct.Pin = R7_Pin|DOTCLK_Pin|B3_Pin;
  GPIO_InitStruct.Mode = GPIO_MODE_AF_PP;
  GPIO_InitStruct.Pull = GPIO_NOPULL;
  GPIO_InitStruct.Speed = GPIO_SPEED_FREQ_LOW;
  GPIO_InitStruct.Alternate = GPIO_AF14_LTDC;
  HAL_GPIO_Init(GPIOG, &GPIO_InitStruct);

  /*Configure GPIO pins : HSYNC_Pin G6_Pin R2_Pin */
  GPIO_InitStruct.Pin = HSYNC_Pin|G6_Pin|R2_Pin;
  GPIO_InitStruct.Mode = GPIO_MODE_AF_PP;
  GPIO_InitStruct.Pull = GPIO_NOPULL;
  GPIO_InitStruct.Speed = GPIO_SPEED_FREQ_LOW;
  GPIO_InitStruct.Alternate = GPIO_AF14_LTDC;
  HAL_GPIO_Init(GPIOC, &GPIO_InitStruct);

  /*Configure GPIO pin : I2C3_SDA_Pin */
  GPIO_InitStruct.Pin = I2C3_SDA_Pin;
  GPIO_InitStruct.Mode = GPIO_MODE_AF_OD;
  GPIO_InitStruct.Pull = GPIO_NOPULL;
  GPIO_InitStruct.Speed = GPIO_SPEED_FREQ_LOW;
  GPIO_InitStruct.Alternate = GPIO_AF4_I2C3;
  HAL_GPIO_Init(I2C3_SDA_GPIO_Port, &GPIO_InitStruct);

  /*Configure GPIO pins : STLINK_RX_Pin STLINK_TX_Pin */
  GPIO_InitStruct.Pin = STLINK_RX_Pin|STLINK_TX_Pin;
  GPIO_InitStruct.Mode = GPIO_MODE_AF_PP;
  GPIO_InitStruct.Pull = GPIO_NOPULL;
  GPIO_InitStruct.Speed = GPIO_SPEED_FREQ_VERY_HIGH;
  GPIO_InitStruct.Alternate = GPIO_AF7_USART1;
  HAL_GPIO_Init(GPIOA, &GPIO_InitStruct);

  /*Configure GPIO pins : G7_Pin B2_Pin */
  GPIO_InitStruct.Pin = G7_Pin|B2_Pin;
  GPIO_InitStruct.Mode = GPIO_MODE_AF_PP;
  GPIO_InitStruct.Pull = GPIO_NOPULL;
  GPIO_InitStruct.Speed = GPIO_SPEED_FREQ_LOW;
  GPIO_InitStruct.Alternate = GPIO_AF14_LTDC;
  HAL_GPIO_Init(GPIOD, &GPIO_InitStruct);

  /*Configure GPIO pins : G3_Pin B4_Pin */
  GPIO_InitStruct.Pin = G3_Pin|B4_Pin;
  GPIO_InitStruct.Mode = GPIO_MODE_AF_PP;
  GPIO_InitStruct.Pull = GPIO_NOPULL;
  GPIO_InitStruct.Speed = GPIO_SPEED_FREQ_LOW;
  GPIO_InitStruct.Alternate = GPIO_AF9_LTDC;
  HAL_GPIO_Init(GPIOG, &GPIO_InitStruct);

  /*Configure GPIO pins : LD3_Pin LD4_Pin */
  GPIO_InitStruct.Pin = LD3_Pin|LD4_Pin;
  GPIO_InitStruct.Mode = GPIO_MODE_OUTPUT_PP;
  GPIO_InitStruct.Pull = GPIO_NOPULL;
  GPIO_InitStruct.Speed = GPIO_SPEED_FREQ_LOW;
  HAL_GPIO_Init(GPIOG, &GPIO_InitStruct);

  /*Configure GPIO pins : SDCKE1_Pin SDNE1_Pin */
  GPIO_InitStruct.Pin = SDCKE1_Pin|SDNE1_Pin;
  GPIO_InitStruct.Mode = GPIO_MODE_AF_PP;
  GPIO_InitStruct.Pull = GPIO_NOPULL;
  GPIO_InitStruct.Speed = GPIO_SPEED_FREQ_VERY_HIGH;
  GPIO_InitStruct.Alternate = GPIO_AF12_FMC;
  HAL_GPIO_Init(GPIOB, &GPIO_InitStruct);

}

void HAL_TIM_PeriodElapsedCallback(TIM_HandleTypeDef *htim)
{
  if (htim->Instance == TIM6)
  {
    HAL_IncTick();
  }
}

void Error_Handler(void)
{
  __disable_irq();
  while (1)
  {
  }
}
